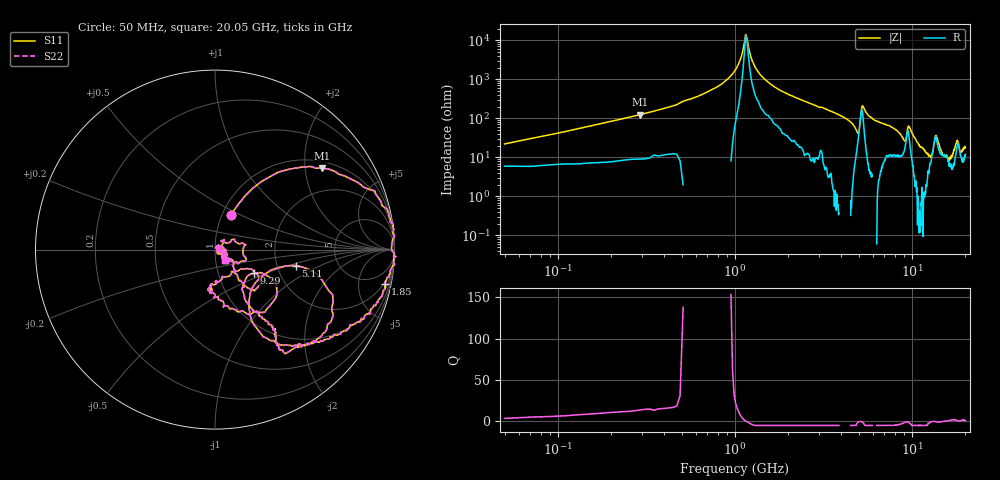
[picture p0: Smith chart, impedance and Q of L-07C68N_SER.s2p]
! P/N: L-07C68NJVT
! Measured by Marlon
! Oct. 13, 2003
! Measure with Series-through-Fixture
#	mhz	s	ma	r	50
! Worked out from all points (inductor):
!   1001 points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, 50 MHz to 20.05 GHz, reference 50 ohm
!   read as one part in series: L = 64.5 nH near 150 MHz
!   highest Q = 13.6 at 290 MHz (marker M1), where L = 68 nH
!   self-resonance near 1.15 GHz
!   S11 on the Smith chart (normalised r, x): 50 MHz: 1.10, +0.45; 1.85 GHz: 1.64, -9.62; 5.11 GHz: 2.55, -0.57; 9.29 GHz: 1.48, -0.42; 20.05 GHz: 1.10, -0.13
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50  0.2125 65.6  0.9177 -10.8  0.9177 -10.8  0.2125 65.6
290  0.7497 37.2  0.6031 -48.7  0.6031 -48.7  0.7497 37.2
850  0.9885 8.9  0.125 -81.7  0.125 -81.7  0.9885 8.9
1150  0.9899 2.9  0.00697 -22.4  0.00697 -22.4  0.9899 2.9
1450  0.9961 -4.2  0.09176 77.6  0.09176 77.6  0.9961 -4.2
1850  0.9665 -11.5  0.1967 73.6  0.1967 73.6  0.9665 -11.5
3390  0.8356 -34.5  0.508 54.8  0.508 54.8  0.8356 -34.5
4850  0.4098 -61.5  0.7558 21.3  0.7558 21.3  0.4098 -61.5
5110  0.4589 -11.1  0.5037 -0.8  0.5037 -0.8  0.4589 -11.1
5570  0.7476 -43.1  0.53 44.1  0.53 44.1  0.7476 -43.1
6730  0.6116 -56.5  0.7318 31.0  0.7318 31.0  0.6116 -56.5
9290  0.2531 -31.6  0.7562 3.3  0.7562 3.3  0.2531 -31.6
10050  0.3723 -68.2  0.8229 17.9  0.8229 17.9  0.3723 -68.2
11570  0.2299 -98.8  0.9069 6.1  0.9069 6.1  0.2299 -98.8
13390  0.2214 -28.9  0.7943 -6.3  0.7943 -6.3  0.2214 -28.9
13870  0.3155 -46.2  0.7965 3.8  0.7965 3.8  0.3155 -46.2
15710  0.09644 -36.0  0.8827 -6.3  0.8827 -6.3  0.09644 -36.0
16730  0.01904 65.2  0.901 -9.7  0.901 -9.7  0.01904 65.2
17970  0.1702 9.3  0.8217 -15.8  0.8217 -15.8  0.1702 9.3
18430  0.152 -29.5  0.8254 -10.5  0.8254 -10.5  0.152 -29.5
19190  0.05128 6.2  0.8831 -13.4  0.8831 -13.4  0.05128 6.2
20050  0.08062 -48.2  0.8484 -18.0  0.8484 -18.0  0.08062 -48.2
